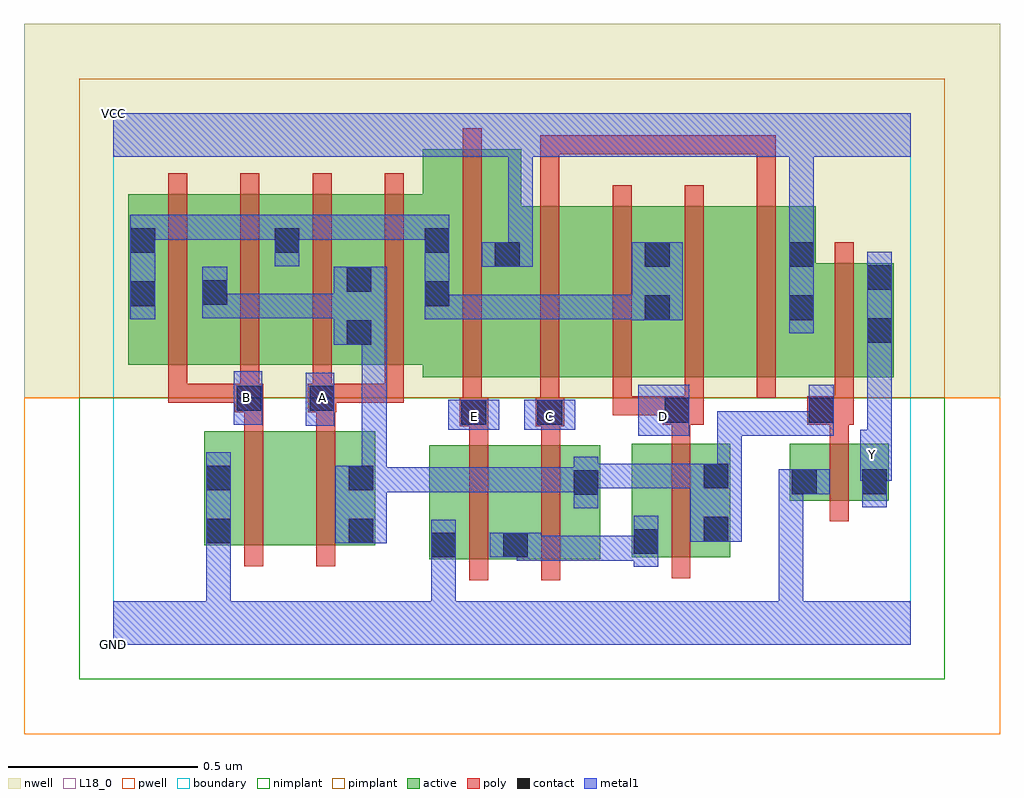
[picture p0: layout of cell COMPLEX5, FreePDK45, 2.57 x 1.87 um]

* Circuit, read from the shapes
.subckt COMPLEX5 A B C D E GND VCC Y
M1 n1 B GND VSUBS nfet w=0.3u l=0.05u
M2 n2 A n1 VSUBS nfet w=0.3u l=0.05u
M3 n3 E GND VSUBS nfet w=0.3u l=0.05u
M4 n2 C n3 VSUBS nfet w=0.3u l=0.05u
M5 n2 D n3 VSUBS nfet w=0.3u l=0.05u
M6 Y n2 GND VSUBS nfet w=0.15u l=0.05u
M7 n2 B n4 n5 pfet w=0.45u l=0.05u m=2
M8 n2 A n4 n5 pfet w=0.45u l=0.05u m=2
M9 VCC E n4 n5 pfet w=0.6u l=0.05u
M10 n6 C VCC n5 pfet w=0.45u l=0.05u
M11 n4 D n6 n5 pfet w=0.45u l=0.05u
M12 n7 D n4 n5 pfet w=0.45u l=0.05u
M13 VCC C n7 n5 pfet w=0.45u l=0.05u
M14 Y n2 VCC n5 pfet w=0.3u l=0.05u
.ends

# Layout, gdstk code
import gdstk
lib = gdstk.Library(unit=1e-6, precision=1e-09)
def R(c, l, rs):  # rectangles x0, y0, x1, y1
    for r in rs: c.add(gdstk.rectangle(r[:2], r[2:], *l))
def A(c, l, x, y, w, h, nx, ny, dx, dy):  # array of equal rectangles
    R(c, l, [(x+i*dx, y+j*dy, x+i*dx+w, y+j*dy+h) for i in range(nx) for j in range(ny)])
active = (1, 0)
pwell = (2, 0)
nwell = (3, 0)
nimplant = (4, 0)
pimplant = (5, 0)
poly = (9, 0)
contact = (10, 0)
metal1 = (11, 0)
L18_0 = (18, 0)
boundary = (235, 0)

complex5 = lib.new_cell('COMPLEX5')
A(complex5, active, 0.04, 0.737, 0.265, 0.45, 3, 1, 0.19, 0)
R(complex5, active, [(0.832,0.225,0.907,0.525), (0.832,0.225,1.097,0.525), (1.022,0.225,1.282,0.525), (1.022,0.225,1.097,0.392), (1.365,0.23,1.44,0.53), (1.365,0.23,1.625,0.53), (1.55,0.23,1.625,0.53), (0.24,0.262,0.315,0.562), (0.24,0.262,0.465,0.562), (0.465,0.262,0.69,0.562), (0.615,0.262,0.69,0.562), (1.207,0.295,1.282,0.525), (1.782,0.38,1.857,0.53), (1.782,0.38,2.042,0.53), (1.967,0.38,2.042,0.53), (0.815,0.705,1.075,1.305), (1,0.705,1.245,1.155), (1.245,0.705,1.47,1.155), (1.395,0.705,1.47,1.155), (1.395,0.705,1.625,1.155), (1.625,0.705,1.85,1.155), (1.775,0.705,2.055,1.005), (1.775,0.705,1.85,1.155), (1.98,0.705,2.055,1.005), (0.04,0.737,0.115,1.155), (0.23,0.737,0.305,1.07), (0.42,0.737,0.495,1.155), (0.61,0.737,0.89,1.187), (0.61,0.737,0.685,1.07), (0.815,0.737,0.89,1.2), (1,0.812,1.075,1.197)])
R(complex5, pwell, [(-0.235,-0.235,2.335,0.65)])
R(complex5, nwell, [(-0.235,0.65,2.335,1.635)])
R(complex5, nimplant, [(-0.09,-0.09,2.19,0.65)])
R(complex5, pimplant, [(-0.09,0.65,2.19,1.49)])
A(complex5, poly, 0.145, 0.637, 0.05, 0.095, 4, 1, 0.19, 0)
A(complex5, poly, 1.125, 0.65, 0.05, 0.56, 4, 1, 0.19, 0)
A(complex5, poly, 0.145, 0.682, 0.05, 0.56, 4, 1, 0.19, 0)
R(complex5, poly, [(0.937,0.17,0.987,0.58), (1.127,0.17,1.177,0.58), (1.47,0.175,1.52,0.585), (0.345,0.207,0.395,0.617), (0.535,0.207,0.585,0.617), (1.887,0.325,1.937,0.585), (0.937,0.53,0.987,0.625), (1.127,0.53,1.177,0.625), (1.47,0.535,1.52,0.63), (1.887,0.535,1.937,0.63), (0.345,0.567,0.395,0.662), (0.535,0.567,0.585,0.662), (0.912,0.575,0.987,0.65), (1.112,0.575,1.187,0.65), (1.447,0.58,1.555,0.655), (1.827,0.58,1.95,0.655), (0.92,0.6,0.97,0.7), (1.125,0.6,1.175,0.7), (1.315,0.605,1.365,0.7), (1.315,0.605,1.365,0.655), (1.315,0.605,1.365,0.655), (1.315,0.605,1.365,0.655), (1.315,0.605,1.497,0.655), (1.505,0.605,1.555,0.7), (1.9,0.605,1.95,0.7), (0.32,0.612,0.395,0.687), (0.512,0.612,0.587,0.687), (0.145,0.637,0.195,0.687), (0.145,0.637,0.195,0.687), (0.145,0.637,0.195,0.687), (0.145,0.637,0.37,0.687), (0.537,0.637,0.765,0.687), (0.715,0.637,0.765,0.687), (0.715,0.637,0.765,0.687), (0.715,0.637,0.765,0.687), (0.92,0.65,0.97,1.36), (1.9,0.65,1.95,1.06), (1.125,1.16,1.175,1.342), (1.695,1.16,1.745,1.342), (1.125,1.292,1.175,1.342), (1.125,1.292,1.175,1.342), (1.125,1.292,1.175,1.342), (1.125,1.292,1.365,1.342), (1.315,1.292,1.365,1.342), (1.315,1.292,1.365,1.342), (1.315,1.292,1.365,1.342), (1.315,1.292,1.497,1.342), (1.447,1.292,1.497,1.342), (1.447,1.292,1.745,1.342), (1.695,1.292,1.745,1.342), (1.695,1.292,1.745,1.342), (1.695,1.292,1.745,1.342)])
R(complex5, contact, [(0.837,0.23,0.902,0.295), (1.027,0.23,1.092,0.295), (1.37,0.24,1.435,0.305), (0.245,0.267,0.31,0.332), (0.62,0.267,0.685,0.332), (1.555,0.272,1.62,0.337), (1.212,0.395,1.277,0.46), (1.787,0.397,1.852,0.462), (1.972,0.397,2.037,0.462), (0.245,0.407,0.31,0.472), (0.62,0.407,0.685,0.472), (1.555,0.412,1.62,0.477), (0.917,0.58,0.982,0.645), (1.117,0.58,1.182,0.645), (1.452,0.585,1.517,0.65), (1.832,0.585,1.897,0.65), (0.325,0.617,0.39,0.682), (0.517,0.617,0.582,0.682), (0.615,0.79,0.68,0.855), (1.985,0.795,2.05,0.86), (1.4,0.855,1.465,0.92), (1.78,0.855,1.845,0.92), (0.045,0.892,0.11,0.957), (0.82,0.892,0.885,0.957), (0.235,0.895,0.3,0.96), (0.615,0.93,0.68,0.995), (1.985,0.935,2.05,1), (1.005,0.995,1.07,1.06), (1.4,0.995,1.465,1.06), (1.78,0.995,1.845,1.06), (0.045,1.032,0.11,1.097), (0.425,1.032,0.49,1.097), (0.82,1.032,0.885,1.097)])
R(complex5, metal1, [(0,0,2.1,0.115), (0.245,0.05,0.31,0.115), (0.245,0.05,0.31,0.115), (0.245,0.05,0.31,0.297), (0.837,0.05,0.902,0.115), (0.837,0.05,0.902,0.115), (0.837,0.05,0.902,0.26), (1.752,0.05,1.817,0.115), (1.752,0.05,1.817,0.115), (1.752,0.05,1.817,0.115), (1.752,0.05,1.817,0.115), (1.752,0.05,1.817,0.115), (1.752,0.05,1.817,0.115), (1.752,0.05,1.817,0.462), (0.837,0.195,0.902,0.26), (0.837,0.195,0.902,0.26), (0.837,0.195,0.902,0.33), (1.37,0.205,1.435,0.34), (1.062,0.222,1.292,0.287), (1.062,0.222,1.127,0.295), (1.227,0.222,1.292,0.287), (1.227,0.222,1.292,0.287), (1.227,0.222,1.292,0.287), (1.227,0.222,1.435,0.287), (0.992,0.23,1.127,0.295), (1.062,0.23,1.127,0.295), (0.245,0.232,0.31,0.507), (0.245,0.232,0.31,0.297), (0.245,0.232,0.31,0.297), (0.585,0.267,0.72,0.472), (1.52,0.272,1.655,0.477), (1.212,0.36,1.277,0.495), (1.972,0.362,2.037,0.497), (1.752,0.397,1.887,0.462), (0.655,0.402,0.81,0.467), (0.745,0.402,0.81,0.467), (0.745,0.402,0.897,0.467), (0.832,0.402,0.897,0.467), (0.832,0.402,0.947,0.467), (0.882,0.402,0.947,0.467), (0.882,0.402,1.085,0.467), (1.02,0.402,1.085,0.467), (1.02,0.402,1.085,0.467), (1.02,0.402,1.085,0.467), (1.02,0.402,1.277,0.467), (0.655,0.407,0.72,0.855), (1.212,0.412,1.277,0.477), (1.212,0.412,1.277,0.477), (1.212,0.412,1.447,0.477), (1.382,0.412,1.447,0.477), (1.382,0.412,1.447,0.477), (1.382,0.412,1.447,0.477), (1.382,0.412,1.585,0.477), (1.59,0.412,1.655,0.615), (1.967,0.432,2.05,0.567), (1.972,0.432,2.037,0.497), (1.985,0.502,2.05,0.825), (1.382,0.55,1.517,0.685), (1.59,0.55,1.655,0.615), (1.59,0.55,1.655,0.615), (1.59,0.55,1.655,0.615), (1.59,0.55,1.792,0.615), (1.727,0.55,1.792,0.615), (1.727,0.55,1.897,0.615), (1.832,0.55,1.897,0.685), (0.882,0.567,1.017,0.645), (1.082,0.567,1.217,0.645), (0.507,0.577,0.582,0.717), (0.317,0.58,0.392,0.72), (1.985,0.76,2.05,1.035), (0.58,0.79,0.72,0.995), (0.655,0.79,0.72,0.855), (0.655,0.79,0.72,0.855), (1.78,0.82,1.845,1.095), (1.365,0.855,1.5,1.06), (0.045,0.857,0.11,1.132), (0.82,0.857,0.885,1.132), (0.82,0.857,0.885,0.922), (0.82,0.857,0.885,0.922), (0.82,0.857,0.947,0.922), (0.882,0.857,0.947,0.922), (0.882,0.857,1.085,0.922), (1.02,0.857,1.085,0.922), (1.02,0.857,1.085,0.922), (1.02,0.857,1.085,0.922), (1.02,0.857,1.292,0.922), (1.227,0.857,1.292,0.922), (1.227,0.857,1.292,0.922), (1.227,0.857,1.292,0.922), (1.227,0.857,1.43,0.922), (0.235,0.86,0.3,0.925), (0.235,0.86,0.3,0.925), (0.235,0.86,0.3,0.995), (0.235,0.86,0.447,0.925), (0.382,0.86,0.447,0.925), (0.382,0.86,0.645,0.925), (0.58,0.86,0.645,0.925), (0.58,0.86,0.645,0.925), (0.97,0.995,1.105,1.06), (1.04,0.995,1.105,1.35), (0.425,0.997,0.49,1.132), (1.78,1.03,1.845,1.35), (0.045,1.067,0.11,1.132), (0.045,1.067,0.11,1.132), (0.045,1.067,0.247,1.132), (0.182,1.067,0.247,1.132), (0.182,1.067,0.432,1.132), (0.367,1.067,0.432,1.132), (0.367,1.067,0.49,1.132), (0.425,1.067,0.672,1.132), (0.607,1.067,0.672,1.132), (0.607,1.067,0.672,1.132), (0.607,1.067,0.672,1.132), (0.607,1.067,0.81,1.132), (0.745,1.067,0.81,1.132), (0.745,1.067,0.885,1.132), (0,1.285,2.1,1.4), (1.78,1.285,1.845,1.35), (1.78,1.285,1.845,1.35)])
R(complex5, L18_0, [(0,0,2.1,0.115), (0.245,0.05,0.31,0.115), (0.245,0.05,0.31,0.115), (0.245,0.05,0.31,0.297), (0.837,0.05,0.902,0.115), (0.837,0.05,0.902,0.115), (0.837,0.05,0.902,0.26), (1.752,0.05,1.817,0.115), (1.752,0.05,1.817,0.115), (1.752,0.05,1.817,0.115), (1.752,0.05,1.817,0.115), (1.752,0.05,1.817,0.115), (1.752,0.05,1.817,0.115), (1.752,0.05,1.817,0.462), (0.837,0.195,0.902,0.26), (0.837,0.195,0.902,0.26), (0.837,0.195,0.902,0.33), (0.245,0.232,0.31,0.297), (0.245,0.232,0.31,0.297), (0.245,0.232,0.31,0.507), (1.972,0.362,2.037,0.497), (1.752,0.397,1.887,0.462), (1.967,0.432,2.05,0.567), (1.972,0.432,2.037,0.497), (1.967,0.467,2.032,0.532), (1.985,0.502,2.05,0.825), (1.382,0.55,1.517,0.685), (0.882,0.567,1.017,0.645), (0.917,0.567,0.982,0.632), (1.082,0.567,1.217,0.645), (1.117,0.567,1.182,0.632), (1.417,0.567,1.482,0.632), (0.507,0.577,0.582,0.717), (0.317,0.58,0.392,0.72), (0.317,0.617,0.382,0.682), (0.517,0.617,0.582,0.682), (1.985,0.76,2.05,1.035), (1.78,0.82,1.845,1.095), (0.97,0.995,1.105,1.06), (1.04,0.995,1.105,1.35), (1.78,1.03,1.845,1.35), (0,1.285,2.1,1.4), (1.78,1.285,1.845,1.35), (1.78,1.285,1.845,1.35)])
R(complex5, boundary, [(0,0,2.1,1.4)])
complex5.add(gdstk.Label('A', (0.55,0.65), layer=11, texttype=0))
complex5.add(gdstk.Label('B', (0.35,0.65), layer=11, texttype=0))
complex5.add(gdstk.Label('C', (1.15,0.6), layer=11, texttype=0))
complex5.add(gdstk.Label('D', (1.45,0.6), layer=11, texttype=0))
complex5.add(gdstk.Label('E', (0.95,0.6), layer=11, texttype=0))
complex5.add(gdstk.Label('Y', (2,0.5), layer=11, texttype=0))
complex5.add(gdstk.Label('VCC', (0,1.4), layer=11, texttype=0))
complex5.add(gdstk.Label('GND', (0,0), layer=11, texttype=0))

lib.write_gds('COMPLEX5.gds')
